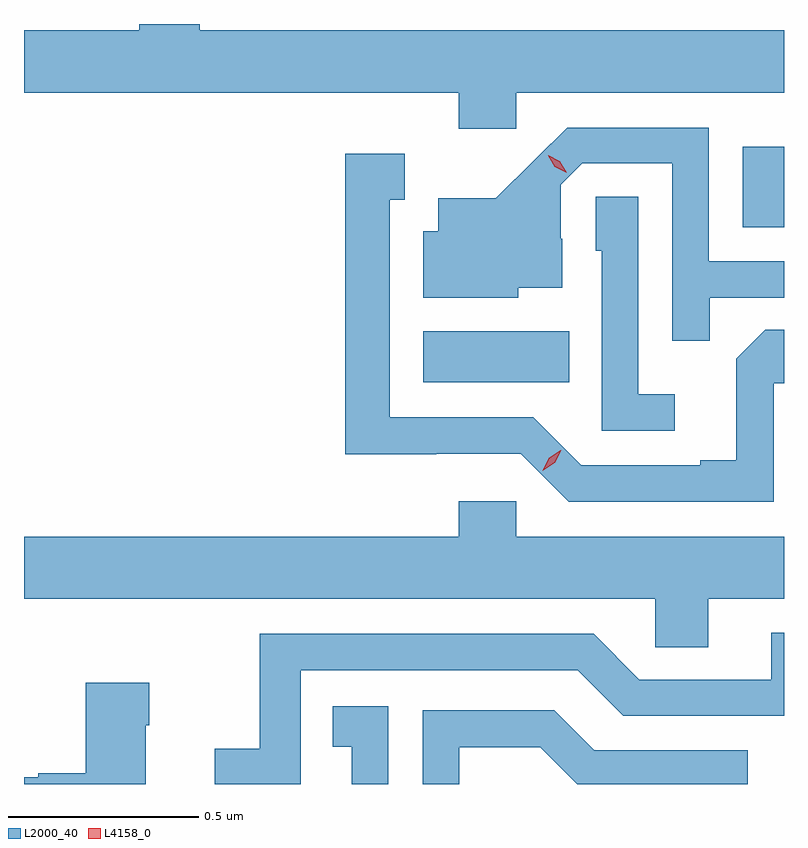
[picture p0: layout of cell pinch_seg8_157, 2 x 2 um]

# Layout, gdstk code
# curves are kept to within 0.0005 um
import gdstk
lib = gdstk.Library(unit=1e-6, precision=1e-09)
def R(c, l, rs):  # rectangles x0, y0, x1, y1
    for r in rs: c.add(gdstk.rectangle(r[:2], r[2:], *l))
def P(c, l, *ps):  # polygons
    for p in ps: c.add(gdstk.Polygon(p, *l))
L2000_40 = (2000, 40)
L4158_0 = (4158, 0)

pinch_seg8_157 = lib.new_cell('pinch_seg8_157')
R(pinch_seg8_157, L2000_40, [(705.914,1142.378,706.298,1142.512), (706.754,1142.786,706.863,1142.998)])
P(pinch_seg8_157, L2000_40, [(706.158,1143.14),(706.863,1143.14),(706.863,1143.304),(705.326,1143.304),(705.326,1143.321),(705.166,1143.321),(705.166,1143.304),(704.863,1143.304),(704.863,1143.14),(706.007,1143.14),(706.007,1143.045),(706.158,1143.045)],
  [(706.667,1142.601),(706.863,1142.601),(706.863,1142.697),(706.665,1142.697),(706.665,1143.048),(706.292,1143.048),(706.105,1142.863),(705.953,1142.863),(705.953,1142.776),(705.914,1142.776),(705.914,1142.6),(706.164,1142.6),(706.164,1142.627),(706.279,1142.627),(706.279,1142.756),(706.275,1142.756),(706.275,1142.898),(706.332,1142.955),(706.569,1142.955),(706.569,1142.488),(706.667,1142.488)],
  [(706.836,1142.376),(706.863,1142.376),(706.863,1142.516),(706.813,1142.516),(706.737,1142.44),(706.737,1142.173),(706.643,1142.173),(706.643,1142.16),(706.329,1142.16),(706.203,1142.286),(705.826,1142.286),(705.826,1142.859),(705.865,1142.859),(705.865,1142.98),(705.708,1142.98),(705.708,1142.189),(705.948,1142.189),(705.948,1142.19),(706.17,1142.19),(706.296,1142.064),(706.836,1142.064)],
  [(706.576,1142.347),(706.479,1142.347),(706.479,1142.867),(706.368,1142.867),(706.368,1142.724),(706.383,1142.724),(706.383,1142.25),(706.576,1142.25)],
  [(706.663,1141.808),(706.863,1141.808),(706.863,1141.972),(706.158,1141.972),(706.158,1142.065),(706.007,1142.065),(706.007,1141.972),(704.863,1141.972),(704.863,1141.808),(706.524,1141.808),(706.524,1141.681),(706.663,1141.681)],
  [(705.591,1141.62),(706.32,1141.62),(706.44,1141.5),(706.863,1141.5),(706.863,1141.719),(706.829,1141.719),(706.829,1141.596),(706.482,1141.596),(706.362,1141.716),(705.483,1141.716),(705.483,1141.414),(705.365,1141.414),(705.365,1141.321),(705.591,1141.321)],
  [(705.184,1141.475),(705.192,1141.475),(705.192,1141.588),(705.026,1141.588),(705.026,1141.349),(704.9,1141.349),(704.9,1141.339),(704.863,1141.339),(704.863,1141.321),(705.184,1141.321)],
  [(705.822,1141.525),(705.676,1141.525),(705.676,1141.419),(705.725,1141.419),(705.725,1141.321),(705.822,1141.321)],
  [(706.008,1141.418),(706.222,1141.418),(706.319,1141.321),(706.767,1141.321),(706.767,1141.41),(706.363,1141.41),(706.258,1141.515),(705.912,1141.515),(705.912,1141.321),(706.008,1141.321)])
P(pinch_seg8_157, L4158_0, [(706.291,1142.93),(706.26,1142.945),(706.242,1142.974),(706.242,1142.975),(706.242,1142.975),(706.273,1142.96),(706.291,1142.93),(706.291,1142.93)],
  [(706.228,1142.146),(706.228,1142.147),(706.245,1142.18),(706.276,1142.199),(706.277,1142.199),(706.277,1142.199),(706.26,1142.166),(706.228,1142.146)])

lib.write_gds('pinch_seg8_157.gds')
